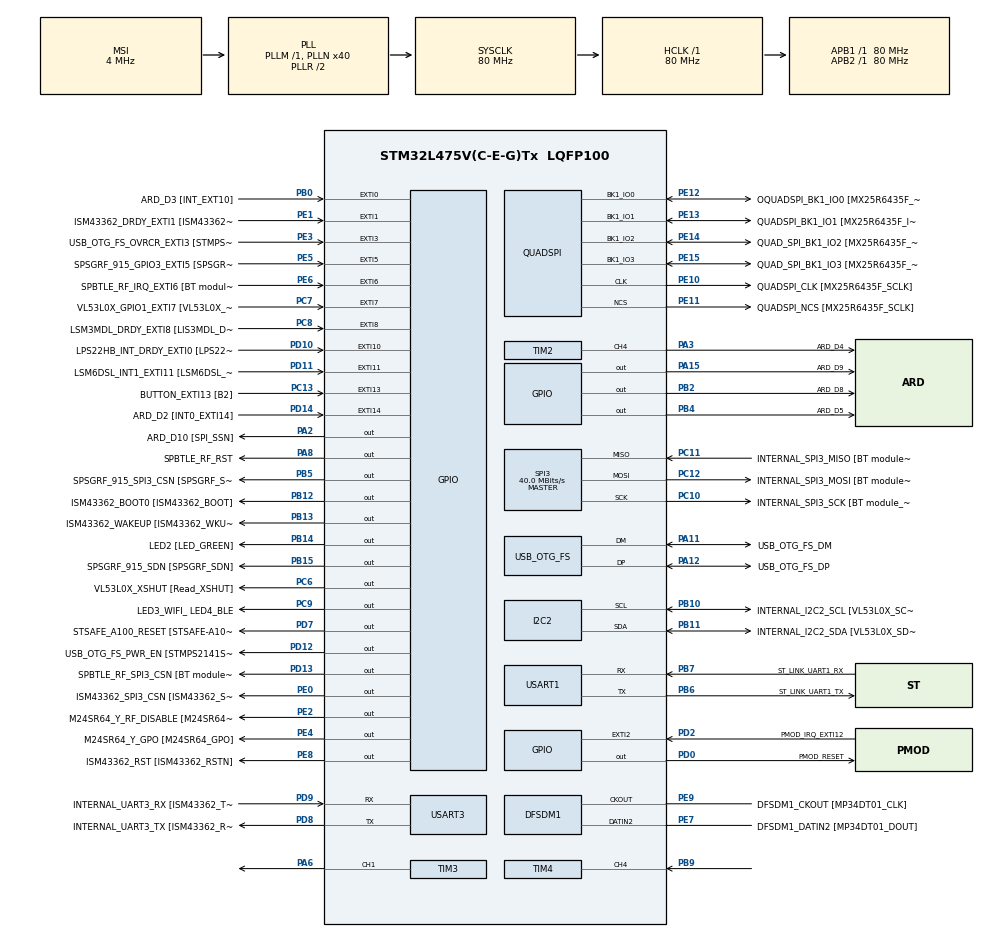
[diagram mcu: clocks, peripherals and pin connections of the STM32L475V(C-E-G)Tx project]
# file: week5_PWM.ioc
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I2C2.Timing=0x10D19CE4
Mcu.Family=STM32L4
Mcu.Name=STM32L475V(C-E-G)Tx
Mcu.Package=LQFP100
NVIC.EXTI15_10_IRQn=true\:0\:0\:false\:false\:true\:true\:true\:true
NVIC.EXTI9_5_IRQn=true\:0\:0\:false\:false\:true\:true\:true\:true
NVIC.PriorityGroup=NVIC_PRIORITYGROUP_4
NVIC.TIM2_IRQn=true\:0\:0\:false\:false\:true\:true\:true\:true
NVIC.TIM3_IRQn=true\:0\:0\:false\:false\:true\:true\:true\:true
NVIC.TIM4_IRQn=true\:0\:0\:false\:false\:true\:true\:true\:true
PA0.GPIO_Label=ARD_D1 [UART4_TX]
PA0.Signal=UART4_TX
PA1.GPIO_Label=ARD_D0 [UART4_RX]
PA1.Signal=UART4_RX
PA10.GPIO_Label=USB_OTG_FS_ID
PA10.Signal=USB_OTG_FS_ID
PA11.GPIO_Label=USB_OTG_FS_DM
PA11.Mode=Device_Only
PA11.Signal=USB_OTG_FS_DM
PA12.GPIO_Label=USB_OTG_FS_DP
PA12.Mode=Device_Only
PA12.Signal=USB_OTG_FS_DP
PA13\ (JTMS-SWDIO).GPIO_Label=SYS_JTMS_SWDIO
PA13\ (JTMS-SWDIO).Mode=Serial_Wire
PA13\ (JTMS-SWDIO).Signal=SYS_JTMS-SWDIO
PA14\ (JTCK-SWCLK).GPIO_Label=SYS_JTCK_SWCLK
PA14\ (JTCK-SWCLK).Mode=Serial_Wire
PA14\ (JTCK-SWCLK).Signal=SYS_JTCK-SWCLK
PA15\ (JTDI).GPIO_Label=ARD_D9
PA15\ (JTDI).Signal=GPIO_Output
PA2.GPIO_Label=ARD_D10 [SPI_SSN]
PA2.Signal=GPIO_Output
PA3.GPIO_Label=ARD_D4
PA3.Signal=S_TIM2_CH4
PA4.GPIO_Label=ARD_D7
PA4.Signal=ADCx_IN9
PA5.GPIO_Label=ARD_D13 [SPI1_SCK]
PA5.Signal=SPI1_SCK
PA6.Signal=S_TIM3_CH1
PA7.GPIO_Label=ARD_D11 [SPI1_MOSI]
PA7.Signal=SPI1_MOSI
PA8.GPIO_Label=SPBTLE_RF_RST
PA8.Signal=GPIO_Output
PA9.GPIO_Label=USB_OTG_FS_VBUS [STMPS2141STR_OUT]
PA9.Signal=USB_OTG_FS_VBUS
PB0.GPIO_Label=ARD_D3 [INT_EXT10]
PB0.Signal=GPXTI0
PB1.GPIO_Label=ARD_D6 [ADC1_IN6]
PB1.Signal=ADCx_IN16
PB10.GPIO_Label=INTERNAL_I2C2_SCL [VL53L0X_SCL]
PB10.GPIO_Pu=GPIO_PULLUP
PB10.Mode=I2C
PB10.Signal=I2C2_SCL
PB11.GPIO_Label=INTERNAL_I2C2_SDA [VL53L0X_SDA]
PB11.GPIO_Pu=GPIO_PULLUP
PB11.Mode=I2C
PB11.Signal=I2C2_SDA
PB12.GPIO_Label=ISM43362_BOOT0 [ISM43362_BOOT]
PB12.Signal=GPIO_Output
PB13.GPIO_Label=ISM43362_WAKEUP [ISM43362_WKUP]
PB13.Signal=GPIO_Output
PB14.GPIO_Label=LED2 [LED_GREEN]
PB14.Signal=GPIO_Output
PB15.GPIO_Label=SPSGRF_915_SDN [SPSGRF_SDN]
PB15.Signal=GPIO_Output
PB2.GPIO_Label=ARD_D8
PB2.Signal=GPIO_Output
PB3\ (JTDO-TRACESWO).GPIO_Label=SYS_JTD0_SWO
PB3\ (JTDO-TRACESWO).Signal=SYS_JTDO-SWO
PB4\ (NJTRST).GPIO_Label=ARD_D5
PB4\ (NJTRST).Signal=GPIO_Output
PB5.GPIO_Label=SPSGRF_915_SPI3_CSN [SPSGRF_SPI_CS]
PB5.PinState=GPIO_PIN_SET
PB5.Signal=GPIO_Output
PB6.GPIO_Label=ST_LINK_UART1_TX
PB6.Mode=Asynchronous
PB6.Signal=USART1_TX
PB7.GPIO_Label=ST_LINK_UART1_RX
PB7.Mode=Asynchronous
PB7.Signal=USART1_RX
PB8.GPIO_Label=ARD_D15 [I2C1_SCL]
PB8.Signal=I2C1_SCL
PB9.Signal=S_TIM4_CH4
PC0.GPIO_Label=ARD_A5 [ADC]
PC0.Signal=ADCx_IN1
PC1.GPIO_Label=ARD_A4 [ADC]
PC1.Signal=ADCx_IN2
PC10.GPIO_Label=INTERNAL_SPI3_SCK [BT module_SPI_SCLK] [ISM43362_SCK]
PC10.Mode=Full_Duplex_Master
PC10.Signal=SPI3_SCK
PC11.GPIO_Label=INTERNAL_SPI3_MISO [BT module_SPI_MISO] [ISM43362_MISO]
PC11.Mode=Full_Duplex_Master
PC11.Signal=SPI3_MISO
PC12.GPIO_Label=INTERNAL_SPI3_MOSI [BT module_SPI_MOSI] [ISM43362_MOSI]
PC12.Mode=Full_Duplex_Master
PC12.Signal=SPI3_MOSI
PC13.GPIO_Label=BUTTON_EXTI13 [B2]
PC13.GPIO_ModeDefaultEXTI=GPIO_MODE_IT_FALLING
PC13.Signal=GPXTI13
PC14-OSC32_IN\ (PC14).Mode=LSE-External-Oscillator
PC14-OSC32_IN\ (PC14).Signal=RCC_OSC32_IN
PC15-OSC32_OUT\ (PC15).Mode=LSE-External-Oscillator
PC15-OSC32_OUT\ (PC15).Signal=RCC_OSC32_OUT
PC2.GPIO_Label=ARD_A3 [ADC]
PC2.Signal=ADCx_IN3
PC3.GPIO_Label=ARD_A2 [ADC]
PC3.Signal=ADCx_IN4
PC4.GPIO_Label=ARD_A1 [ADC]
PC4.Signal=ADCx_IN13
PC5.GPIO_Label=ARD_A0 [ADC]
PC5.Signal=ADCx_IN14
PC6.GPIO_Label=VL53L0X_XSHUT [Read_XSHUT]
PC6.Signal=GPIO_Output
PC7.GPIO_Label=VL53L0X_GPIO1_EXTI7 [VL53L0X_GPIO1]
PC7.Signal=GPXTI7
PC8.GPIO_Label=LSM3MDL_DRDY_EXTI8 [LIS3MDL_DRDY]
PC8.Signal=GPXTI8
PC9.GPIO_Label=LED3_WIFI_ LED4_BLE
PC9.Signal=GPIO_Output
PD0.GPIO_Label=PMOD_RESET
PD0.Signal=GPIO_Output
PD1.GPIO_Label=PMOD_SPI2_SCK
PD1.Signal=SPI2_SCK
PD10.GPIO_Label=LPS22HB_INT_DRDY_EXTI0 [LPS22HB_INT_DRDY] 
PD10.Signal=GPXTI10
PD11.GPIO_Label=LSM6DSL_INT1_EXTI11 [LSM6DSL_INT1]
PD11.Signal=GPXTI11
PD12.GPIO_Label=USB_OTG_FS_PWR_EN [STMPS2141STR_EN]
PD12.Signal=GPIO_Output
PD13.GPIO_Label=SPBTLE_RF_SPI3_CSN [BT module_SPI_CS]
PD13.PinState=GPIO_PIN_SET
PD13.Signal=GPIO_Output
PD14.GPIO_Label=ARD_D2 [INT0_EXTI14]
PD14.Signal=GPXTI14
PD2.GPIO_Label=PMOD_IRQ_EXTI12
PD2.Signal=GPXTI2
PD3.GPIO_Label=PMOD_UART2_CTS
PD3.Signal=USART2_CTS
PD4.GPIO_Label=PMOD_UART2_RTS
PD4.Signal=USART2_RTS
PD5.GPIO_Label=PMOD_UART2_TX
PD5.Signal=USART2_TX
PD6.GPIO_Label=PMOD_UART2_RX
PD6.Signal=USART2_RX
PD7.GPIO_Label=STSAFE_A100_RESET [STSAFE-A100_RESET]
PD7.Signal=GPIO_Output
PD8.GPIO_Label=INTERNAL_UART3_TX [ISM43362_RX]
PD8.Mode=Asynchronous
PD8.Signal=USART3_TX
PD9.GPIO_Label=INTERNAL_UART3_RX [ISM43362_TX]
PD9.Mode=Asynchronous
PD9.Signal=USART3_RX
PE0.GPIO_Label=ISM43362_SPI3_CSN [ISM43362_SSN]
PE0.PinState=GPIO_PIN_SET
PE0.Signal=GPIO_Output
PE1.GPIO_Label=ISM43362_DRDY_EXTI1 [ISM43362_DATARDY]
PE1.Signal=GPXTI1
PE10.GPIO_Label=QUADSPI_CLK [MX25R6435F_SCLK]
PE10.Mode=Single Bank
PE10.Signal=QUADSPI_CLK
PE11.GPIO_Label=QUADSPI_NCS [MX25R6435F_SCLK]
PE11.Mode=Single Bank
PE11.Signal=QUADSPI_NCS
PE12.GPIO_Label=OQUADSPI_BK1_IO0 [MX25R6435F_IO0]
PE12.Mode=Single Bank
PE12.Signal=QUADSPI_BK1_IO0
PE13.GPIO_Label=QUADSPI_BK1_IO1 [MX25R6435F_IO1]
PE13.Mode=Single Bank
PE13.Signal=QUADSPI_BK1_IO1
PE14.GPIO_Label=QUAD_SPI_BK1_IO2 [MX25R6435F_IO2]
PE14.Mode=Single Bank
PE14.Signal=QUADSPI_BK1_IO2
PE15.GPIO_Label=QUAD_SPI_BK1_IO3 [MX25R6435F_IO3]
PE15.Mode=Single Bank
PE15.Signal=QUADSPI_BK1_IO3
PE2.GPIO_Label=M24SR64_Y_RF_DISABLE [M24SR64_RFDIS]
PE2.Signal=GPIO_Output
PE3.GPIO_Label=USB_OTG_FS_OVRCR_EXTI3 [STMPS2141STR_FAULT]
PE3.Signal=GPXTI3
PE4.GPIO_Label=M24SR64_Y_GPO [M24SR64_GPO]
PE4.Signal=GPIO_Output
PE5.GPIO_Label=SPSGRF_915_GPIO3_EXTI5 [SPSGRF_GPIO_3]
PE5.Signal=GPXTI5
PE6.GPIO_Label=SPBTLE_RF_IRQ_EXTI6 [BT module_SPI_IRQ]
PE6.Signal=GPXTI6
PE7.GPIO_Label=DFSDM1_DATIN2 [MP34DT01_DOUT]
PE7.Signal=S_DATAIN2DFSDM1
PE8.GPIO_Label=ISM43362_RST [ISM43362_RSTN]
PE8.Signal=GPIO_Output
PE9.GPIO_Label=DFSDM1_CKOUT [MP34DT01_CLK]
PE9.Signal=S_CKOUTDFSDM1
ProjectManager.HeapSize=0x200
ProjectManager.StackSize=0x400
ProjectManager.TargetToolchain=STM32CubeIDE
QUADSPI.ClockPrescaler=2
QUADSPI.FifoThreshold=4
QUADSPI.FlashSize=23
QUADSPI.SampleShifting=QSPI_SAMPLE_SHIFTING_HALFCYCLE
RCC.ADCFreq_Value=48000000
RCC.AHBFreq_Value=80000000
RCC.APB1Freq_Value=80000000
RCC.APB1TimFreq_Value=80000000
RCC.APB2Freq_Value=80000000
RCC.APB2TimFreq_Value=80000000
RCC.CortexFreq_Value=80000000
RCC.HCLKFreq_Value=80000000
RCC.HSE_VALUE=8000000
RCC.HSI_VALUE=16000000
RCC.MSI_VALUE=4000000
RCC.PLLN=40
RCC.PLLSAI1N=24
RCC.SYSCLKFreq_VALUE=80000000
RCC.SYSCLKSource=RCC_SYSCLKSOURCE_PLLCLK
RCC.USBFreq_Value=48000000
RCC.VCOOutputFreq_Value=160000000
SH.ADCx_IN1.0=ADC1_IN1
SH.ADCx_IN13.0=ADC1_IN13
SH.ADCx_IN14.0=ADC1_IN14
SH.ADCx_IN16.0=ADC1_IN16
SH.ADCx_IN2.0=ADC1_IN2
SH.ADCx_IN3.0=ADC1_IN3
SH.ADCx_IN4.0=ADC1_IN4
SH.ADCx_IN9.0=ADC1_IN9
SH.S_CKOUTDFSDM1.0=DFSDM1_CKOUT,CKOUT
SH.S_CKOUTDFSDM1.1=DFSDM1_CKOUT,PDM_SPI_Input_from_ch12_and_Internal_Clock
SH.S_DATAIN2DFSDM1.0=DFSDM1_DATIN2,PDM_SPI_Input_from_ch12_and_Internal_Clock
SH.S_TIM2_CH4.0=TIM2_CH4,PWM Generation4 CH4
SH.S_TIM3_CH1.0=TIM3_CH1,PWM Generation1 CH1
SH.S_TIM4_CH4.0=TIM4_CH4,Input_Capture4_from_TI4
SPI3.CalculateBaudRate=40.0 MBits/s
SPI3.Direction=SPI_DIRECTION_2LINES
SPI3.Mode=SPI_MODE_MASTER
SPI3.VirtualType=VM_MASTER
TIM2.Channel-PWM\ Generation4\ CH4=TIM_CHANNEL_4
TIM2.Period=10000-1
TIM2.Prescaler=160-1
TIM3.Channel-PWM\ Generation1\ CH1=TIM_CHANNEL_1
TIM3.Period=100-1
TIM3.Prescaler=80-1
TIM3.Pulse-PWM\ Generation1\ CH1=50
TIM4.Channel-Input_Capture4_from_TI4=TIM_CHANNEL_4
USART1.VirtualMode-Asynchronous=VM_ASYNC
USART3.VirtualMode-Asynchronous=VM_ASYNC
USB_OTG_FS.VirtualMode=Device_Only
VP_TIM2_VS_ClockSourceINT.Mode=Internal
VP_TIM3_VS_ClockSourceINT.Mode=Internal
board=B-L475E-IOT01A2

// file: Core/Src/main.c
/* USER CODE BEGIN Header */
/**
  ******************************************************************************
  * @file           : main.c
  * @brief          : Main program body
  ******************************************************************************
  * @attention
  *
  * Copyright (c) 2025 STMicroelectronics.
  * All rights reserved.
  *
  * This software is licensed under terms that can be found in the LICENSE file
  * in the root directory of this software component.
  * If no LICENSE file comes with this software, it is provided AS-IS.
  *
  ******************************************************************************
  */
/* USER CODE END Header */
#include "main.h"

DFSDM_Channel_HandleTypeDef hdfsdm1_channel1;

I2C_HandleTypeDef hi2c2;

QSPI_HandleTypeDef hqspi;

SPI_HandleTypeDef hspi3;

TIM_HandleTypeDef htim2;
TIM_HandleTypeDef htim3;
TIM_HandleTypeDef htim4;

UART_HandleTypeDef huart1;
UART_HandleTypeDef huart3;

PCD_HandleTypeDef hpcd_USB_OTG_FS;

/* USER CODE BEGIN PV */

uint32_t captureValue = 0;
uint32_t previousCaptureValue = 0;
uint32_t frequency = 0;

/* USER CODE END PV */

void SystemClock_Config(void);
static void MX_GPIO_Init(void);
static void MX_DFSDM1_Init(void);
static void MX_I2C2_Init(void);
static void MX_QUADSPI_Init(void);
static void MX_SPI3_Init(void);
static void MX_USART1_UART_Init(void);
static void MX_USART3_UART_Init(void);
static void MX_USB_OTG_FS_PCD_Init(void);
static void MX_TIM2_Init(void);
static void MX_TIM4_Init(void);
static void MX_TIM3_Init(void);
/* USER CODE BEGIN PFP */

void TIM4_Start_IC(void);

/* USER CODE END PFP */

int main(void)
{

  /* MCU Configuration--------------------------------------------------------*/

  /* Reset of all peripherals, Initializes the Flash interface and the Systick. */
  HAL_Init();

  /* Configure the system clock */
  SystemClock_Config();

  /* Initialize all configured peripherals */
  MX_GPIO_Init();
  MX_DFSDM1_Init();
  MX_I2C2_Init();
  MX_QUADSPI_Init();
  MX_SPI3_Init();
  MX_USART1_UART_Init();
  MX_USART3_UART_Init();
  MX_USB_OTG_FS_PCD_Init();
  MX_TIM2_Init();
  MX_TIM4_Init();
  MX_TIM3_Init();
  /* USER CODE BEGIN 2 */
  HAL_TIM_PWM_Start(&htim2, TIM_CHANNEL_4);
  HAL_TIM_PWM_Start(&htim3, TIM_CHANNEL_1);
  TIM4_Start_IC();

  /* USER CODE END 2 */

  /* Infinite loop */
  while (1)
  {

    /* USER CODE BEGIN 3 */
	  __HAL_TIM_SetCompare(&htim2, TIM_CHANNEL_4, 500);
	  HAL_Delay(500);
	  __HAL_TIM_SetCompare(&htim2, TIM_CHANNEL_4, 750);
	  HAL_Delay(500);
	  __HAL_TIM_SetCompare(&htim2, TIM_CHANNEL_4, 1000);
	  HAL_Delay(500);
  }
  /* USER CODE END 3 */
}

void SystemClock_Config(void)
{
  RCC_OscInitTypeDef RCC_OscInitStruct = {0};
  RCC_ClkInitTypeDef RCC_ClkInitStruct = {0};

  /** Configure the main internal regulator output voltage
  */
  if (HAL_PWREx_ControlVoltageScaling(PWR_REGULATOR_VOLTAGE_SCALE1) != HAL_OK)
  {
    Error_Handler();
  }

  /** Configure LSE Drive Capability
  */
  HAL_PWR_EnableBkUpAccess();
  __HAL_RCC_LSEDRIVE_CONFIG(RCC_LSEDRIVE_LOW);

  /** Initializes the RCC Oscillators according to the specified parameters
  * in the RCC_OscInitTypeDef structure.
  */
  RCC_OscInitStruct.OscillatorType = RCC_OSCILLATORTYPE_LSE|RCC_OSCILLATORTYPE_MSI;
  RCC_OscInitStruct.LSEState = RCC_LSE_ON;
  RCC_OscInitStruct.MSIState = RCC_MSI_ON;
  RCC_OscInitStruct.MSICalibrationValue = 0;
  RCC_OscInitStruct.MSIClockRange = RCC_MSIRANGE_6;
  RCC_OscInitStruct.PLL.PLLState = RCC_PLL_ON;
  RCC_OscInitStruct.PLL.PLLSource = RCC_PLLSOURCE_MSI;
  RCC_OscInitStruct.PLL.PLLM = 1;
  RCC_OscInitStruct.PLL.PLLN = 40;
  RCC_OscInitStruct.PLL.PLLP = RCC_PLLP_DIV7;
  RCC_OscInitStruct.PLL.PLLQ = RCC_PLLQ_DIV2;
  RCC_OscInitStruct.PLL.PLLR = RCC_PLLR_DIV2;
  if (HAL_RCC_OscConfig(&RCC_OscInitStruct) != HAL_OK)
  {
    Error_Handler();
  }

  /** Initializes the CPU, AHB and APB buses clocks
  */
  RCC_ClkInitStruct.ClockType = RCC_CLOCKTYPE_HCLK|RCC_CLOCKTYPE_SYSCLK
                              |RCC_CLOCKTYPE_PCLK1|RCC_CLOCKTYPE_PCLK2;
  RCC_ClkInitStruct.SYSCLKSource = RCC_SYSCLKSOURCE_PLLCLK;
  RCC_ClkInitStruct.AHBCLKDivider = RCC_SYSCLK_DIV1;
  RCC_ClkInitStruct.APB1CLKDivider = RCC_HCLK_DIV1;
  RCC_ClkInitStruct.APB2CLKDivider = RCC_HCLK_DIV1;

  if (HAL_RCC_ClockConfig(&RCC_ClkInitStruct, FLASH_LATENCY_4) != HAL_OK)
  {
    Error_Handler();
  }

  /** Enable MSI Auto calibration
  */
  HAL_RCCEx_EnableMSIPLLMode();
}

static void MX_DFSDM1_Init(void)
{

  hdfsdm1_channel1.Instance = DFSDM1_Channel1;
  hdfsdm1_channel1.Init.OutputClock.Activation = ENABLE;
  hdfsdm1_channel1.Init.OutputClock.Selection = DFSDM_CHANNEL_OUTPUT_CLOCK_SYSTEM;
  hdfsdm1_channel1.Init.OutputClock.Divider = 2;
  hdfsdm1_channel1.Init.Input.Multiplexer = DFSDM_CHANNEL_EXTERNAL_INPUTS;
  hdfsdm1_channel1.Init.Input.DataPacking = DFSDM_CHANNEL_STANDARD_MODE;
  hdfsdm1_channel1.Init.Input.Pins = DFSDM_CHANNEL_FOLLOWING_CHANNEL_PINS;
  hdfsdm1_channel1.Init.SerialInterface.Type = DFSDM_CHANNEL_SPI_RISING;
  hdfsdm1_channel1.Init.SerialInterface.SpiClock = DFSDM_CHANNEL_SPI_CLOCK_INTERNAL;
  hdfsdm1_channel1.Init.Awd.FilterOrder = DFSDM_CHANNEL_FASTSINC_ORDER;
  hdfsdm1_channel1.Init.Awd.Oversampling = 1;
  hdfsdm1_channel1.Init.Offset = 0;
  hdfsdm1_channel1.Init.RightBitShift = 0x00;
  if (HAL_DFSDM_ChannelInit(&hdfsdm1_channel1) != HAL_OK)
  {
    Error_Handler();
  }

}

static void MX_I2C2_Init(void)
{

  hi2c2.Instance = I2C2;
  hi2c2.Init.Timing = 0x10D19CE4;
  hi2c2.Init.OwnAddress1 = 0;
  hi2c2.Init.AddressingMode = I2C_ADDRESSINGMODE_7BIT;
  hi2c2.Init.DualAddressMode = I2C_DUALADDRESS_DISABLE;
  hi2c2.Init.OwnAddress2 = 0;
  hi2c2.Init.OwnAddress2Masks = I2C_OA2_NOMASK;
  hi2c2.Init.GeneralCallMode = I2C_GENERALCALL_DISABLE;
  hi2c2.Init.NoStretchMode = I2C_NOSTRETCH_DISABLE;
  if (HAL_I2C_Init(&hi2c2) != HAL_OK)
  {
    Error_Handler();
  }

  /** Configure Analogue filter
  */
  if (HAL_I2CEx_ConfigAnalogFilter(&hi2c2, I2C_ANALOGFILTER_ENABLE) != HAL_OK)
  {
    Error_Handler();
  }

  /** Configure Digital filter
  */
  if (HAL_I2CEx_ConfigDigitalFilter(&hi2c2, 0) != HAL_OK)
  {
    Error_Handler();
  }

}

static void MX_QUADSPI_Init(void)
{

  /* QUADSPI parameter configuration*/
  hqspi.Instance = QUADSPI;
  hqspi.Init.ClockPrescaler = 2;
  hqspi.Init.FifoThreshold = 4;
  hqspi.Init.SampleShifting = QSPI_SAMPLE_SHIFTING_HALFCYCLE;
  hqspi.Init.FlashSize = 23;
  hqspi.Init.ChipSelectHighTime = QSPI_CS_HIGH_TIME_1_CYCLE;
  hqspi.Init.ClockMode = QSPI_CLOCK_MODE_0;
  if (HAL_QSPI_Init(&hqspi) != HAL_OK)
  {
    Error_Handler();
  }

}

static void MX_SPI3_Init(void)
{

  /* SPI3 parameter configuration*/
  hspi3.Instance = SPI3;
  hspi3.Init.Mode = SPI_MODE_MASTER;
  hspi3.Init.Direction = SPI_DIRECTION_2LINES;
  hspi3.Init.DataSize = SPI_DATASIZE_4BIT;
  hspi3.Init.CLKPolarity = SPI_POLARITY_LOW;
  hspi3.Init.CLKPhase = SPI_PHASE_1EDGE;
  hspi3.Init.NSS = SPI_NSS_SOFT;
  hspi3.Init.BaudRatePrescaler = SPI_BAUDRATEPRESCALER_2;
  hspi3.Init.FirstBit = SPI_FIRSTBIT_MSB;
  hspi3.Init.TIMode = SPI_TIMODE_DISABLE;
  hspi3.Init.CRCCalculation = SPI_CRCCALCULATION_DISABLE;
  hspi3.Init.CRCPolynomial = 7;
  hspi3.Init.CRCLength = SPI_CRC_LENGTH_DATASIZE;
  hspi3.Init.NSSPMode = SPI_NSS_PULSE_ENABLE;
  if (HAL_SPI_Init(&hspi3) != HAL_OK)
  {
    Error_Handler();
  }

}

static void MX_TIM2_Init(void)
{

  TIM_ClockConfigTypeDef sClockSourceConfig = {0};
  TIM_MasterConfigTypeDef sMasterConfig = {0};
  TIM_OC_InitTypeDef sConfigOC = {0};

  htim2.Instance = TIM2;
  htim2.Init.Prescaler = 160-1;
  htim2.Init.CounterMode = TIM_COUNTERMODE_UP;
  htim2.Init.Period = 10000-1;
  htim2.Init.ClockDivision = TIM_CLOCKDIVISION_DIV1;
  htim2.Init.AutoReloadPreload = TIM_AUTORELOAD_PRELOAD_DISABLE;
  if (HAL_TIM_Base_Init(&htim2) != HAL_OK)
  {
    Error_Handler();
  }
  sClockSourceConfig.ClockSource = TIM_CLOCKSOURCE_INTERNAL;
  if (HAL_TIM_ConfigClockSource(&htim2, &sClockSourceConfig) != HAL_OK)
  {
    Error_Handler();
  }
  if (HAL_TIM_PWM_Init(&htim2) != HAL_OK)
  {
    Error_Handler();
  }
  sMasterConfig.MasterOutputTrigger = TIM_TRGO_RESET;
  sMasterConfig.MasterSlaveMode = TIM_MASTERSLAVEMODE_DISABLE;
  if (HAL_TIMEx_MasterConfigSynchronization(&htim2, &sMasterConfig) != HAL_OK)
  {
    Error_Handler();
  }
  sConfigOC.OCMode = TIM_OCMODE_PWM1;
  sConfigOC.Pulse = 0;
  sConfigOC.OCPolarity = TIM_OCPOLARITY_HIGH;
  sConfigOC.OCFastMode = TIM_OCFAST_DISABLE;
  if (HAL_TIM_PWM_ConfigChannel(&htim2, &sConfigOC, TIM_CHANNEL_4) != HAL_OK)
  {
    Error_Handler();
  }
  HAL_TIM_MspPostInit(&htim2);

}

static void MX_TIM3_Init(void)
{

  TIM_ClockConfigTypeDef sClockSourceConfig = {0};
  TIM_MasterConfigTypeDef sMasterConfig = {0};
  TIM_OC_InitTypeDef sConfigOC = {0};

  htim3.Instance = TIM3;
  htim3.Init.Prescaler = 80-1;
  htim3.Init.CounterMode = TIM_COUNTERMODE_UP;
  htim3.Init.Period = 100-1;
  htim3.Init.ClockDivision = TIM_CLOCKDIVISION_DIV1;
  htim3.Init.AutoReloadPreload = TIM_AUTORELOAD_PRELOAD_DISABLE;
  if (HAL_TIM_Base_Init(&htim3) != HAL_OK)
  {
    Error_Handler();
  }
  sClockSourceConfig.ClockSource = TIM_CLOCKSOURCE_INTERNAL;
  if (HAL_TIM_ConfigClockSource(&htim3, &sClockSourceConfig) != HAL_OK)
  {
    Error_Handler();
  }
  if (HAL_TIM_PWM_Init(&htim3) != HAL_OK)
  {
    Error_Handler();
  }
  sMasterConfig.MasterOutputTrigger = TIM_TRGO_RESET;
  sMasterConfig.MasterSlaveMode = TIM_MASTERSLAVEMODE_DISABLE;
  if (HAL_TIMEx_MasterConfigSynchronization(&htim3, &sMasterConfig) != HAL_OK)
  {
    Error_Handler();
  }
  sConfigOC.OCMode = TIM_OCMODE_PWM1;
  sConfigOC.Pulse = 50;
  sConfigOC.OCPolarity = TIM_OCPOLARITY_HIGH;
  sConfigOC.OCFastMode = TIM_OCFAST_DISABLE;
  if (HAL_TIM_PWM_ConfigChannel(&htim3, &sConfigOC, TIM_CHANNEL_1) != HAL_OK)
  {
    Error_Handler();
  }
  HAL_TIM_MspPostInit(&htim3);

}

static void MX_TIM4_Init(void)
{

  TIM_MasterConfigTypeDef sMasterConfig = {0};
  TIM_IC_InitTypeDef sConfigIC = {0};

  htim4.Instance = TIM4;
  htim4.Init.Prescaler = 0;
  htim4.Init.CounterMode = TIM_COUNTERMODE_UP;
  htim4.Init.Period = 65535;
  htim4.Init.ClockDivision = TIM_CLOCKDIVISION_DIV1;
  htim4.Init.AutoReloadPreload = TIM_AUTORELOAD_PRELOAD_DISABLE;
  if (HAL_TIM_IC_Init(&htim4) != HAL_OK)
  {
    Error_Handler();
  }
  sMasterConfig.MasterOutputTrigger = TIM_TRGO_RESET;
  sMasterConfig.MasterSlaveMode = TIM_MASTERSLAVEMODE_DISABLE;
  if (HAL_TIMEx_MasterConfigSynchronization(&htim4, &sMasterConfig) != HAL_OK)
  {
    Error_Handler();
  }
  sConfigIC.ICPolarity = TIM_INPUTCHANNELPOLARITY_RISING;
  sConfigIC.ICSelection = TIM_ICSELECTION_DIRECTTI;
  sConfigIC.ICPrescaler = TIM_ICPSC_DIV1;
  sConfigIC.ICFilter = 0;
  if (HAL_TIM_IC_ConfigChannel(&htim4, &sConfigIC, TIM_CHANNEL_4) != HAL_OK)
  {
    Error_Handler();
  }

}

static void MX_USART1_UART_Init(void)
{

  huart1.Instance = USART1;
  huart1.Init.BaudRate = 115200;
  huart1.Init.WordLength = UART_WORDLENGTH_8B;
  huart1.Init.StopBits = UART_STOPBITS_1;
  huart1.Init.Parity = UART_PARITY_NONE;
  huart1.Init.Mode = UART_MODE_TX_RX;
  huart1.Init.HwFlowCtl = UART_HWCONTROL_NONE;
  huart1.Init.OverSampling = UART_OVERSAMPLING_16;
  huart1.Init.OneBitSampling = UART_ONE_BIT_SAMPLE_DISABLE;
  huart1.AdvancedInit.AdvFeatureInit = UART_ADVFEATURE_NO_INIT;
  if (HAL_UART_Init(&huart1) != HAL_OK)
  {
    Error_Handler();
  }

}

static void MX_USART3_UART_Init(void)
{

  huart3.Instance = USART3;
  huart3.Init.BaudRate = 115200;
  huart3.Init.WordLength = UART_WORDLENGTH_8B;
  huart3.Init.StopBits = UART_STOPBITS_1;
  huart3.Init.Parity = UART_PARITY_NONE;
  huart3.Init.Mode = UART_MODE_TX_RX;
  huart3.Init.HwFlowCtl = UART_HWCONTROL_NONE;
  huart3.Init.OverSampling = UART_OVERSAMPLING_16;
  huart3.Init.OneBitSampling = UART_ONE_BIT_SAMPLE_DISABLE;
  huart3.AdvancedInit.AdvFeatureInit = UART_ADVFEATURE_NO_INIT;
  if (HAL_UART_Init(&huart3) != HAL_OK)
  {
    Error_Handler();
  }

}

static void MX_USB_OTG_FS_PCD_Init(void)
{

  hpcd_USB_OTG_FS.Instance = USB_OTG_FS;
  hpcd_USB_OTG_FS.Init.dev_endpoints = 6;
  hpcd_USB_OTG_FS.Init.speed = PCD_SPEED_FULL;
  hpcd_USB_OTG_FS.Init.phy_itface = PCD_PHY_EMBEDDED;
  hpcd_USB_OTG_FS.Init.Sof_enable = DISABLE;
  hpcd_USB_OTG_FS.Init.low_power_enable = DISABLE;
  hpcd_USB_OTG_FS.Init.lpm_enable = DISABLE;
  hpcd_USB_OTG_FS.Init.battery_charging_enable = DISABLE;
  hpcd_USB_OTG_FS.Init.use_dedicated_ep1 = DISABLE;
  hpcd_USB_OTG_FS.Init.vbus_sensing_enable = DISABLE;
  if (HAL_PCD_Init(&hpcd_USB_OTG_FS) != HAL_OK)
  {
    Error_Handler();
  }

}

static void MX_GPIO_Init(void)
{
  GPIO_InitTypeDef GPIO_InitStruct = {0};

  /* GPIO Ports Clock Enable */
  __HAL_RCC_GPIOE_CLK_ENABLE();
  __HAL_RCC_GPIOC_CLK_ENABLE();
  __HAL_RCC_GPIOA_CLK_ENABLE();
  __HAL_RCC_GPIOB_CLK_ENABLE();
  __HAL_RCC_GPIOD_CLK_ENABLE();

  /*Configure GPIO pin Output Level */
  HAL_GPIO_WritePin(GPIOE, M24SR64_Y_RF_DISABLE_Pin|M24SR64_Y_GPO_Pin|ISM43362_RST_Pin, GPIO_PIN_RESET);

  /*Configure GPIO pin Output Level */
  HAL_GPIO_WritePin(GPIOA, ARD_D10_Pin|SPBTLE_RF_RST_Pin|ARD_D9_Pin, GPIO_PIN_RESET);

  /*Configure GPIO pin Output Level */
  HAL_GPIO_WritePin(GPIOB, ARD_D8_Pin|ISM43362_BOOT0_Pin|ISM43362_WAKEUP_Pin|LED2_Pin
                          |SPSGRF_915_SDN_Pin|ARD_D5_Pin, GPIO_PIN_RESET);

  /*Configure GPIO pin Output Level */
  HAL_GPIO_WritePin(GPIOD, USB_OTG_FS_PWR_EN_Pin|PMOD_RESET_Pin|STSAFE_A100_RESET_Pin, GPIO_PIN_RESET);

  /*Configure GPIO pin Output Level */
  HAL_GPIO_WritePin(SPBTLE_RF_SPI3_CSN_GPIO_Port, SPBTLE_RF_SPI3_CSN_Pin, GPIO_PIN_SET);

  /*Configure GPIO pin Output Level */
  HAL_GPIO_WritePin(GPIOC, VL53L0X_XSHUT_Pin|LED3_WIFI__LED4_BLE_Pin, GPIO_PIN_RESET);

  /*Configure GPIO pin Output Level */
  HAL_GPIO_WritePin(SPSGRF_915_SPI3_CSN_GPIO_Port, SPSGRF_915_SPI3_CSN_Pin, GPIO_PIN_SET);

  /*Configure GPIO pin Output Level */
  HAL_GPIO_WritePin(ISM43362_SPI3_CSN_GPIO_Port, ISM43362_SPI3_CSN_Pin, GPIO_PIN_SET);

  /*Configure GPIO pins : M24SR64_Y_RF_DISABLE_Pin M24SR64_Y_GPO_Pin ISM43362_RST_Pin ISM43362_SPI3_CSN_Pin */
  GPIO_InitStruct.Pin = M24SR64_Y_RF_DISABLE_Pin|M24SR64_Y_GPO_Pin|ISM43362_RST_Pin|ISM43362_SPI3_CSN_Pin;
  GPIO_InitStruct.Mode = GPIO_MODE_OUTPUT_PP;
  GPIO_InitStruct.Pull = GPIO_NOPULL;
  GPIO_InitStruct.Speed = GPIO_SPEED_FREQ_LOW;
  HAL_GPIO_Init(GPIOE, &GPIO_InitStruct);

  /*Configure GPIO pins : USB_OTG_FS_OVRCR_EXTI3_Pin SPSGRF_915_GPIO3_EXTI5_Pin SPBTLE_RF_IRQ_EXTI6_Pin ISM43362_DRDY_EXTI1_Pin */
  GPIO_InitStruct.Pin = USB_OTG_FS_OVRCR_EXTI3_Pin|SPSGRF_915_GPIO3_EXTI5_Pin|SPBTLE_RF_IRQ_EXTI6_Pin|ISM43362_DRDY_EXTI1_Pin;
  GPIO_InitStruct.Mode = GPIO_MODE_IT_RISING;
  GPIO_InitStruct.Pull = GPIO_NOPULL;
  HAL_GPIO_Init(GPIOE, &GPIO_InitStruct);

  /*Configure GPIO pin : BUTTON_EXTI13_Pin */
  GPIO_InitStruct.Pin = BUTTON_EXTI13_Pin;
  GPIO_InitStruct.Mode = GPIO_MODE_IT_FALLING;
  GPIO_InitStruct.Pull = GPIO_NOPULL;
  HAL_GPIO_Init(BUTTON_EXTI13_GPIO_Port, &GPIO_InitStruct);

  /*Configure GPIO pins : ARD_A5_Pin ARD_A4_Pin ARD_A3_Pin ARD_A2_Pin
                           ARD_A1_Pin ARD_A0_Pin */
  GPIO_InitStruct.Pin = ARD_A5_Pin|ARD_A4_Pin|ARD_A3_Pin|ARD_A2_Pin
                          |ARD_A1_Pin|ARD_A0_Pin;
  GPIO_InitStruct.Mode = GPIO_MODE_ANALOG_ADC_CONTROL;
  GPIO_InitStruct.Pull = GPIO_NOPULL;
  HAL_GPIO_Init(GPIOC, &GPIO_InitStruct);

  /*Configure GPIO pins : ARD_D1_Pin ARD_D0_Pin */
  GPIO_InitStruct.Pin = ARD_D1_Pin|ARD_D0_Pin;
  GPIO_InitStruct.Mode = GPIO_MODE_AF_PP;
  GPIO_InitStruct.Pull = GPIO_NOPULL;
  GPIO_InitStruct.Speed = GPIO_SPEED_FREQ_VERY_HIGH;
  GPIO_InitStruct.Alternate = GPIO_AF8_UART4;
  HAL_GPIO_Init(GPIOA, &GPIO_InitStruct);

  /*Configure GPIO pins : ARD_D10_Pin SPBTLE_RF_RST_Pin ARD_D9_Pin */
  GPIO_InitStruct.Pin = ARD_D10_Pin|SPBTLE_RF_RST_Pin|ARD_D9_Pin;
  GPIO_InitStruct.Mode = GPIO_MODE_OUTPUT_PP;
  GPIO_InitStruct.Pull = GPIO_NOPULL;
  GPIO_InitStruct.Speed = GPIO_SPEED_FREQ_LOW;
  HAL_GPIO_Init(GPIOA, &GPIO_InitStruct);

  /*Configure GPIO pin : ARD_D7_Pin */
  GPIO_InitStruct.Pin = ARD_D7_Pin;
  GPIO_InitStruct.Mode = GPIO_MODE_ANALOG_ADC_CONTROL;
  GPIO_InitStruct.Pull = GPIO_NOPULL;
  HAL_GPIO_Init(ARD_D7_GPIO_Port, &GPIO_InitStruct);

  /*Configure GPIO pins : ARD_D13_Pin ARD_D11_Pin */
  GPIO_InitStruct.Pin = ARD_D13_Pin|ARD_D11_Pin;
  GPIO_InitStruct.Mode = GPIO_MODE_AF_PP;
  GPIO_InitStruct.Pull = GPIO_NOPULL;
  GPIO_InitStruct.Speed = GPIO_SPEED_FREQ_VERY_HIGH;
  GPIO_InitStruct.Alternate = GPIO_AF5_SPI1;
  HAL_GPIO_Init(GPIOA, &GPIO_InitStruct);

  /*Configure GPIO pin : ARD_D3_Pin */
  GPIO_InitStruct.Pin = ARD_D3_Pin;
  GPIO_InitStruct.Mode = GPIO_MODE_IT_RISING;
  GPIO_InitStruct.Pull = GPIO_NOPULL;
  HAL_GPIO_Init(ARD_D3_GPIO_Port, &GPIO_InitStruct);

  /*Configure GPIO pin : ARD_D6_Pin */
  GPIO_InitStruct.Pin = ARD_D6_Pin;
  GPIO_InitStruct.Mode = GPIO_MODE_ANALOG_ADC_CONTROL;
  GPIO_InitStruct.Pull = GPIO_NOPULL;
  HAL_GPIO_Init(ARD_D6_GPIO_Port, &GPIO_InitStruct);

  /*Configure GPIO pins : ARD_D8_Pin ISM43362_BOOT0_Pin ISM43362_WAKEUP_Pin LED2_Pin
                           SPSGRF_915_SDN_Pin ARD_D5_Pin SPSGRF_915_SPI3_CSN_Pin */
  GPIO_InitStruct.Pin = ARD_D8_Pin|ISM43362_BOOT0_Pin|ISM43362_WAKEUP_Pin|LED2_Pin
                          |SPSGRF_915_SDN_Pin|ARD_D5_Pin|SPSGRF_915_SPI3_CSN_Pin;
  GPIO_InitStruct.Mode = GPIO_MODE_OUTPUT_PP;
  GPIO_InitStruct.Pull = GPIO_NOPULL;
  GPIO_InitStruct.Speed = GPIO_SPEED_FREQ_LOW;
  HAL_GPIO_Init(GPIOB, &GPIO_InitStruct);

  /*Configure GPIO pins : LPS22HB_INT_DRDY_EXTI0_Pin LSM6DSL_INT1_EXTI11_Pin ARD_D2_Pin PMOD_IRQ_EXTI12_Pin */
  GPIO_InitStruct.Pin = LPS22HB_INT_DRDY_EXTI0_Pin|LSM6DSL_INT1_EXTI11_Pin|ARD_D2_Pin|PMOD_IRQ_EXTI12_Pin;
  GPIO_InitStruct.Mode = GPIO_MODE_IT_RISING;
  GPIO_InitStruct.Pull = GPIO_NOPULL;
  HAL_GPIO_Init(GPIOD, &GPIO_InitStruct);

  /*Configure GPIO pins : USB_OTG_FS_PWR_EN_Pin SPBTLE_RF_SPI3_CSN_Pin PMOD_RESET_Pin STSAFE_A100_RESET_Pin */
  GPIO_InitStruct.Pin = USB_OTG_FS_PWR_EN_Pin|SPBTLE_RF_SPI3_CSN_Pin|PMOD_RESET_Pin|STSAFE_A100_RESET_Pin;
  GPIO_InitStruct.Mode = GPIO_MODE_OUTPUT_PP;
  GPIO_InitStruct.Pull = GPIO_NOPULL;
  GPIO_InitStruct.Speed = GPIO_SPEED_FREQ_LOW;
  HAL_GPIO_Init(GPIOD, &GPIO_InitStruct);

  /*Configure GPIO pins : VL53L0X_XSHUT_Pin LED3_WIFI__LED4_BLE_Pin */
  GPIO_InitStruct.Pin = VL53L0X_XSHUT_Pin|LED3_WIFI__LED4_BLE_Pin;
  GPIO_InitStruct.Mode = GPIO_MODE_OUTPUT_PP;
  GPIO_InitStruct.Pull = GPIO_NOPULL;
  GPIO_InitStruct.Speed = GPIO_SPEED_FREQ_LOW;
  HAL_GPIO_Init(GPIOC, &GPIO_InitStruct);

  /*Configure GPIO pins : VL53L0X_GPIO1_EXTI7_Pin LSM3MDL_DRDY_EXTI8_Pin */
  GPIO_InitStruct.Pin = VL53L0X_GPIO1_EXTI7_Pin|LSM3MDL_DRDY_EXTI8_Pin;
  GPIO_InitStruct.Mode = GPIO_MODE_IT_RISING;
  GPIO_InitStruct.Pull = GPIO_NOPULL;
  HAL_GPIO_Init(GPIOC, &GPIO_InitStruct);

  /*Configure GPIO pin : PMOD_SPI2_SCK_Pin */
  GPIO_InitStruct.Pin = PMOD_SPI2_SCK_Pin;
  GPIO_InitStruct.Mode = GPIO_MODE_AF_PP;
  GPIO_InitStruct.Pull = GPIO_NOPULL;
  GPIO_InitStruct.Speed = GPIO_SPEED_FREQ_VERY_HIGH;
  GPIO_InitStruct.Alternate = GPIO_AF5_SPI2;
  HAL_GPIO_Init(PMOD_SPI2_SCK_GPIO_Port, &GPIO_InitStruct);

  /*Configure GPIO pins : PMOD_UART2_CTS_Pin PMOD_UART2_RTS_Pin PMOD_UART2_TX_Pin PMOD_UART2_RX_Pin */
  GPIO_InitStruct.Pin = PMOD_UART2_CTS_Pin|PMOD_UART2_RTS_Pin|PMOD_UART2_TX_Pin|PMOD_UART2_RX_Pin;
  GPIO_InitStruct.Mode = GPIO_MODE_AF_PP;
  GPIO_InitStruct.Pull = GPIO_NOPULL;
  GPIO_InitStruct.Speed = GPIO_SPEED_FREQ_VERY_HIGH;
  GPIO_InitStruct.Alternate = GPIO_AF7_USART2;
  HAL_GPIO_Init(GPIOD, &GPIO_InitStruct);

  /*Configure GPIO pin : ARD_D15_Pin */
  GPIO_InitStruct.Pin = ARD_D15_Pin;
  GPIO_InitStruct.Mode = GPIO_MODE_AF_OD;
  GPIO_InitStruct.Pull = GPIO_NOPULL;
  GPIO_InitStruct.Speed = GPIO_SPEED_FREQ_VERY_HIGH;
  GPIO_InitStruct.Alternate = GPIO_AF4_I2C1;
  HAL_GPIO_Init(ARD_D15_GPIO_Port, &GPIO_InitStruct);

  /* EXTI interrupt init*/
  HAL_NVIC_SetPriority(EXTI9_5_IRQn, 0, 0);
  HAL_NVIC_EnableIRQ(EXTI9_5_IRQn);

  HAL_NVIC_SetPriority(EXTI15_10_IRQn, 0, 0);
  HAL_NVIC_EnableIRQ(EXTI15_10_IRQn);

}

/* USER CODE BEGIN 4 */

void TIM4_Start_IC(){
	HAL_TIM_IC_Start_IT(&htim4, TIM_CHANNEL_4);
}

void HAL_TIM_IC_CaptureCallback(TIM_HandleTypeDef *htim) {
    if (htim->Channel == HAL_TIM_ACTIVE_CHANNEL_4) {
        captureValue = HAL_TIM_ReadCapturedValue(htim, TIM_CHANNEL_4);
        frequency = HAL_RCC_GetPCLK1Freq() / (captureValue - previousCaptureValue);
        previousCaptureValue = captureValue;
    }
}

/* USER CODE END 4 */

void Error_Handler(void)
{
  __disable_irq();
  while (1)
  {
  }
}
